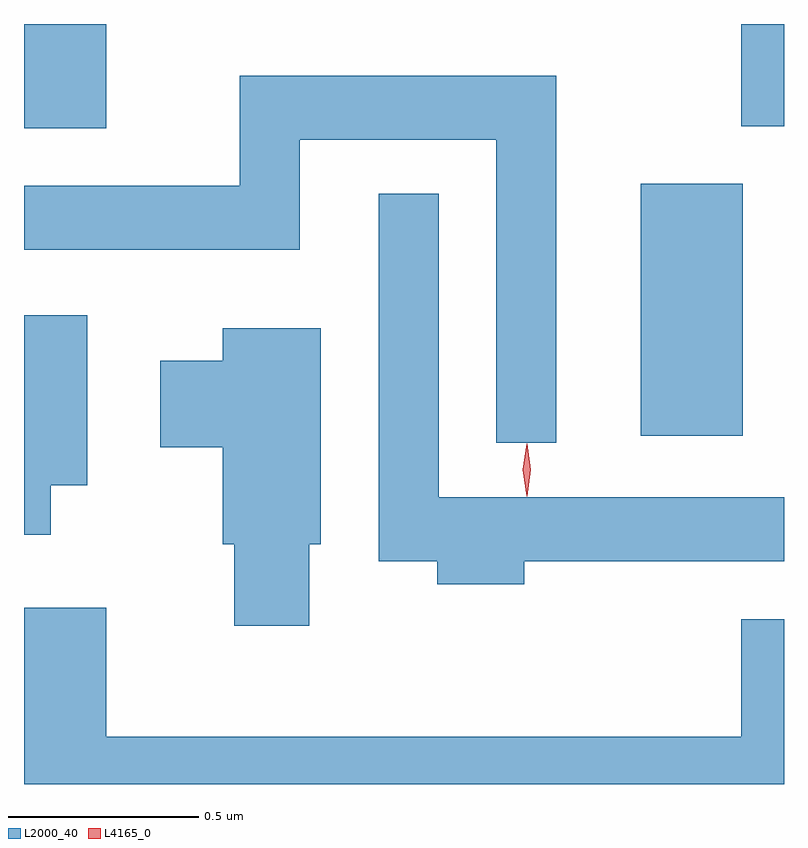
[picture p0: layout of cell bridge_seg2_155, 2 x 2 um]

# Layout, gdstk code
import gdstk
lib = gdstk.Library(unit=1e-6, precision=1e-09)
def R(c, l, rs):  # rectangles x0, y0, x1, y1
    for r in rs: c.add(gdstk.rectangle(r[:2], r[2:], *l))
def P(c, l, *ps):  # polygons
    for p in ps: c.add(gdstk.Polygon(p, *l))
L2000_40 = (2000, 40)
L4165_0 = (4165, 0)

bridge_seg2_155 = lib.new_cell('bridge_seg2_155')
R(bridge_seg2_155, L2000_40, [(1075.506,1104.876,1075.774,1105.539), (1073.883,1105.686,1074.099,1105.96), (1075.771,1105.691,1075.883,1105.96)])
P(bridge_seg2_155, L2000_40, [(1075.284,1105.824),(1074.451,1105.824),(1074.451,1105.534),(1073.883,1105.534),(1073.883,1105.366),(1074.609,1105.366),(1074.609,1105.656),(1075.126,1105.656),(1075.126,1104.858),(1075.284,1104.858)],
  [(1075.199,1104.546),(1075.883,1104.546),(1075.883,1104.714),(1074.974,1104.714),(1074.974,1105.513),(1074.816,1105.513),(1074.816,1104.546),(1074.971,1104.546),(1074.971,1104.486),(1075.199,1104.486)],
  [(1073.954,1104.746),(1074.049,1104.746),(1074.049,1105.194),(1073.883,1105.194),(1073.883,1104.616),(1073.954,1104.616)],
  [(1074.634,1104.591),(1074.664,1104.591),(1074.664,1105.159),(1074.406,1105.159),(1074.406,1105.074),(1074.241,1105.074),(1074.241,1104.846),(1074.406,1104.846),(1074.406,1104.591),(1074.436,1104.591),(1074.436,1104.376),(1074.634,1104.376)],
  [(1075.883,1104.394),(1075.771,1104.394),(1075.771,1104.084),(1074.099,1104.084),(1074.099,1104.424),(1073.883,1104.424),(1073.883,1103.96),(1075.883,1103.96)])
P(bridge_seg2_155, L4165_0, [(1075.206,1104.717),(1075.206,1104.717),(1075.196,1104.787),(1075.206,1104.856),(1075.206,1104.856),(1075.207,1104.856),(1075.216,1104.787),(1075.207,1104.717)])

lib.write_gds('bridge_seg2_155.gds')
